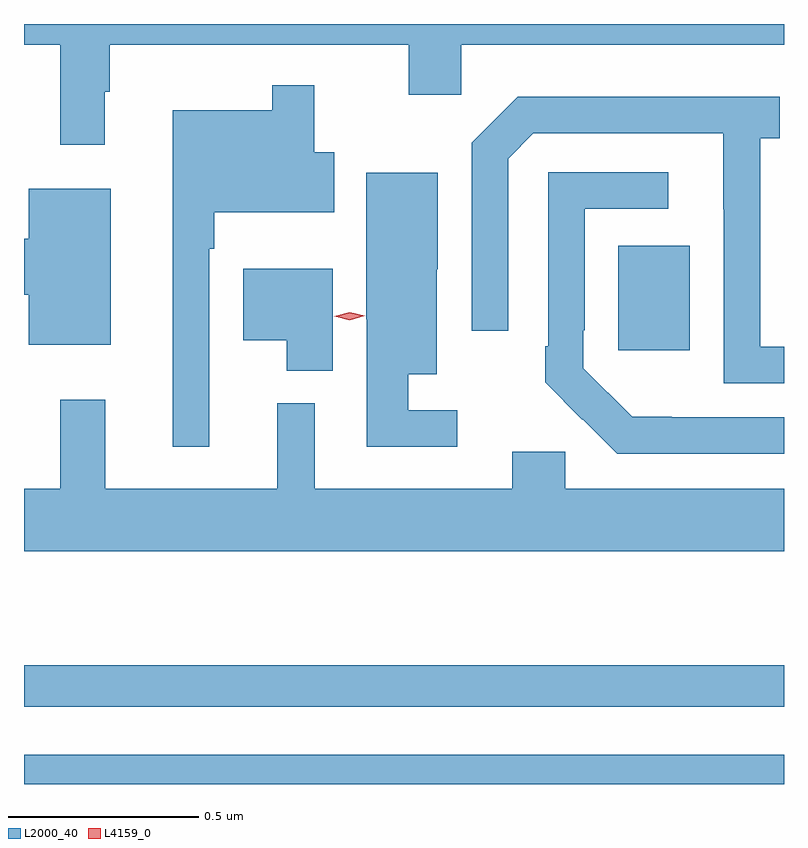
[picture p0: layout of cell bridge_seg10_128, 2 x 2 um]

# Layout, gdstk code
import gdstk
lib = gdstk.Library(unit=1e-6, precision=1e-09)
def R(c, l, rs):  # rectangles x0, y0, x1, y1
    for r in rs: c.add(gdstk.rectangle(r[:2], r[2:], *l))
def P(c, l, *ps):  # polygons
    for p in ps: c.add(gdstk.Polygon(p, *l))
L2000_40 = (2000, 40)
L4159_0 = (4159, 0)

bridge_seg10_128 = lib.new_cell('bridge_seg10_128')
R(bridge_seg10_128, L2000_40, [(365.143,1322.347,367.143,1322.424), (365.143,1322.55,367.143,1322.659), (366.707,1323.489,366.895,1323.763)])
P(bridge_seg10_128, L2000_40, [(365.143,1324.292),(365.239,1324.292),(365.239,1324.029),(365.356,1324.029),(365.356,1324.169),(365.368,1324.169),(365.368,1324.292),(366.155,1324.292),(366.155,1324.161),(366.294,1324.161),(366.294,1324.292),(367.143,1324.292),(367.143,1324.347),(365.143,1324.347)],
  [(365.631,1323.755),(365.644,1323.755),(365.644,1323.851),(365.959,1323.851),(365.959,1324.009),(365.907,1324.009),(365.907,1324.186),(365.796,1324.186),(365.796,1324.12),(365.534,1324.12),(365.534,1323.234),(365.631,1323.234)],
  [(367.143,1323.498),(367.08,1323.498),(367.08,1324.046),(367.132,1324.046),(367.132,1324.156),(366.442,1324.156),(366.321,1324.035),(366.321,1323.54),(366.417,1323.54),(366.417,1323.993),(366.483,1324.059),(366.983,1324.059),(366.983,1323.859),(366.984,1323.859),(366.984,1323.402),(367.143,1323.402)],
  [(367.143,1323.312),(366.847,1323.312),(366.847,1323.313),(366.744,1323.313),(366.615,1323.441),(366.615,1323.541),(366.618,1323.541),(366.618,1323.861),(366.838,1323.861),(366.838,1323.957),(366.522,1323.957),(366.522,1323.499),(366.515,1323.499),(366.515,1323.404),(366.612,1323.306),(366.613,1323.307),(366.704,1323.216),(367.143,1323.216)],
  [(366.283,1323.33),(366.154,1323.33),(366.154,1323.425),(366.229,1323.425),(366.229,1323.702),(366.232,1323.702),(366.232,1323.955),(366.044,1323.955),(366.044,1323.57),(366.045,1323.57),(366.045,1323.234),(366.283,1323.234)],
  [(365.371,1323.913),(365.156,1323.913),(365.156,1323.782),(365.143,1323.782),(365.143,1323.635),(365.156,1323.635),(365.156,1323.503),(365.371,1323.503)],
  [(365.956,1323.703),(365.72,1323.703),(365.72,1323.515),(365.834,1323.515),(365.834,1323.434),(365.956,1323.434)],
  [(367.143,1323.124),(366.567,1323.124),(366.567,1323.222),(366.428,1323.222),(366.428,1323.124),(365.908,1323.124),(365.908,1323.349),(365.81,1323.349),(365.81,1323.124),(365.357,1323.124),(365.357,1323.358),(365.239,1323.358),(365.239,1323.124),(365.143,1323.124),(365.143,1322.96),(367.143,1322.96)])
P(bridge_seg10_128, L4159_0, [(366,1323.568),(365.96,1323.578),(365.96,1323.578),(365.96,1323.578),(366,1323.588),(366.04,1323.579),(366.04,1323.579),(366.04,1323.579)])

lib.write_gds('bridge_seg10_128.gds')
